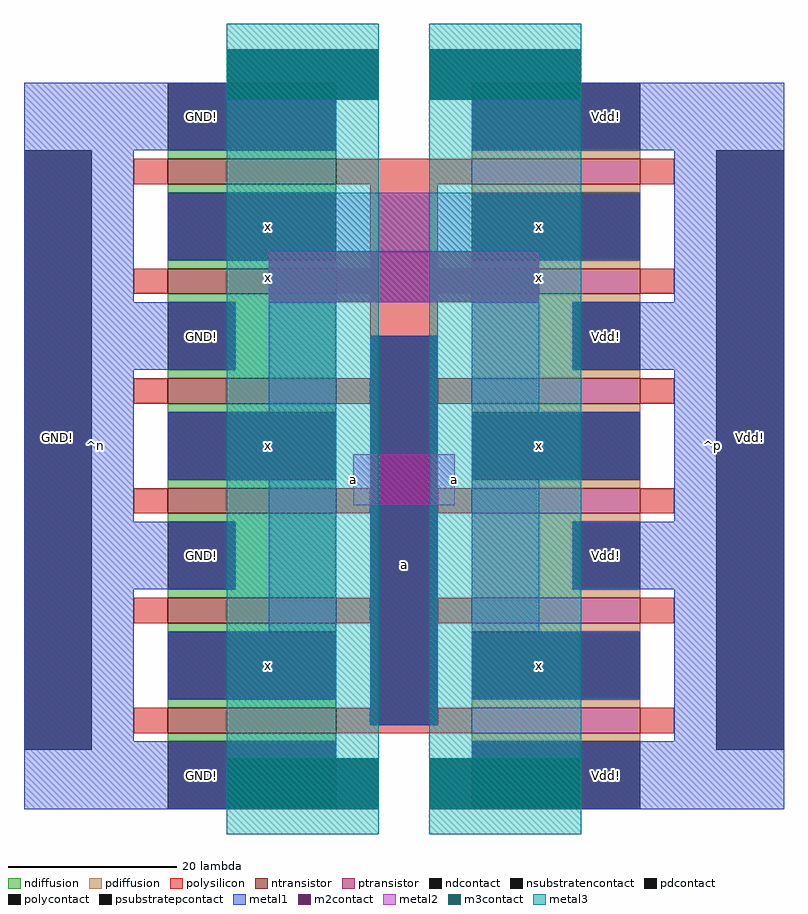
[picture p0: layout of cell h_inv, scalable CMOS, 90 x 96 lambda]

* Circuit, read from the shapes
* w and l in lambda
.subckt h_inv GND! Vdd! a x
M1 x a GND! GND! nfet w=20 l=3 m=6
M2 x a Vdd! Vdd! pfet w=20 l=3 m=6
.ends

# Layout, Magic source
magic
tech scmos
<< ndiffusion >>
rect -28 53 -8 54
rect -28 49 -8 50
rect -28 40 -8 41
rect -28 36 -8 37
rect -20 28 -8 36
rect -28 27 -8 28
rect -28 23 -8 24
rect -28 14 -8 15
rect -28 10 -8 11
rect -20 2 -8 10
rect -28 1 -8 2
rect -28 -3 -8 -2
rect -28 -12 -8 -11
rect -28 -16 -8 -15
<< pdiffusion >>
rect 8 53 28 54
rect 8 49 28 50
rect 8 40 28 41
rect 8 36 28 37
rect 8 28 20 36
rect 8 27 28 28
rect 8 23 28 24
rect 8 14 28 15
rect 8 10 28 11
rect 8 2 20 10
rect 8 1 28 2
rect 8 -3 28 -2
rect 8 -12 28 -11
rect 8 -16 28 -15
<< ntransistor >>
rect -28 50 -8 53
rect -28 37 -8 40
rect -28 24 -8 27
rect -28 11 -8 14
rect -28 -2 -8 1
rect -28 -15 -8 -12
<< ptransistor >>
rect 8 50 28 53
rect 8 37 28 40
rect 8 24 28 27
rect 8 11 28 14
rect 8 -2 28 1
rect 8 -15 28 -12
<< polysilicon >>
rect -32 50 -28 53
rect -8 50 8 53
rect 28 50 32 53
rect -4 40 4 50
rect -32 37 -28 40
rect -8 37 8 40
rect 28 37 32 40
rect -4 32 4 37
rect -32 24 -28 27
rect -8 24 -4 27
rect -32 11 -28 14
rect -8 11 -4 14
rect -32 -2 -28 1
rect -8 -2 -4 1
rect -32 -15 -28 -12
rect -8 -14 -4 -12
rect 4 24 8 27
rect 28 24 32 27
rect 4 11 8 14
rect 28 11 32 14
rect 4 -2 8 1
rect 28 -2 32 1
rect 4 -14 8 -12
rect -8 -15 8 -14
rect 28 -15 32 -12
<< ndcontact >>
rect -28 54 -8 62
rect -28 41 -8 49
rect -28 28 -20 36
rect -28 15 -8 23
rect -28 2 -20 10
rect -28 -11 -8 -3
rect -28 -24 -8 -16
<< pdcontact >>
rect 8 54 28 62
rect 8 41 28 49
rect 20 28 28 36
rect 8 15 28 23
rect 20 2 28 10
rect 8 -11 28 -3
rect 8 -24 28 -16
<< psubstratepcontact >>
rect -45 -17 -37 54
<< nsubstratencontact >>
rect 37 -17 45 54
<< polycontact >>
rect -4 -14 4 32
<< metal1 >>
rect -45 60 -21 62
rect 21 60 45 62
rect -45 54 -8 60
rect 8 54 45 60
rect -45 36 -32 54
rect -28 42 28 49
rect -28 41 -16 42
rect 16 41 28 42
rect 32 36 45 54
rect -45 28 -20 36
rect -45 10 -32 28
rect -16 23 -8 36
rect -28 15 -8 23
rect -45 2 -20 10
rect -45 -16 -32 2
rect -16 -3 -8 15
rect -28 -11 -8 -3
rect -4 18 4 32
rect -4 -14 4 12
rect 8 23 16 36
rect 20 28 45 36
rect 8 15 28 23
rect 8 -3 16 15
rect 32 10 45 28
rect 20 2 45 10
rect 8 -11 28 -3
rect 32 -16 45 2
rect -45 -18 -8 -16
rect 8 -18 45 -16
rect -45 -24 -21 -18
rect 21 -24 45 -18
<< m2contact >>
rect -21 60 -3 66
rect 3 60 21 66
rect -16 36 16 42
rect -4 12 4 18
rect -21 -24 -3 -18
rect 3 -24 21 -18
<< metal2 >>
rect -16 36 16 42
rect -6 12 6 18
<< m3contact >>
rect -21 60 -3 66
rect 3 60 21 66
rect -21 -24 -3 -18
rect 3 -24 21 -18
<< metal3 >>
rect -21 -27 -3 69
rect 3 -27 21 69
<< labels >>
rlabel ndcontact -16 19 -16 19 1 x
rlabel ndcontact -16 -7 -16 -7 1 x
rlabel ndcontact -16 45 -16 45 1 x
rlabel pdcontact 16 19 16 19 1 x
rlabel pdcontact 16 -7 16 -7 1 x
rlabel pdcontact 16 45 16 45 1 x
rlabel metal2 -16 36 -16 42 3 x
rlabel metal2 16 36 16 42 7 x
rlabel metal2 6 12 6 18 7 a
rlabel metal2 -6 12 -6 18 3 a
rlabel metal1 0 5 0 5 1 a
rlabel ndcontact -24 6 -24 6 5 GND!
rlabel ndcontact -24 32 -24 32 5 GND!
rlabel ndcontact -24 58 -24 58 5 GND!
rlabel ndcontact -24 -20 -24 -20 1 GND!
rlabel metal1 -41 20 -41 20 3 GND!
rlabel space -46 -25 -27 63 7 ^n
rlabel pdcontact 24 -20 24 -20 1 Vdd!
rlabel pdcontact 24 6 24 6 5 Vdd!
rlabel pdcontact 24 32 24 32 5 Vdd!
rlabel pdcontact 24 58 24 58 5 Vdd!
rlabel metal1 41 20 41 20 7 Vdd!
rlabel space 27 -25 46 63 3 ^p
<< end >>
